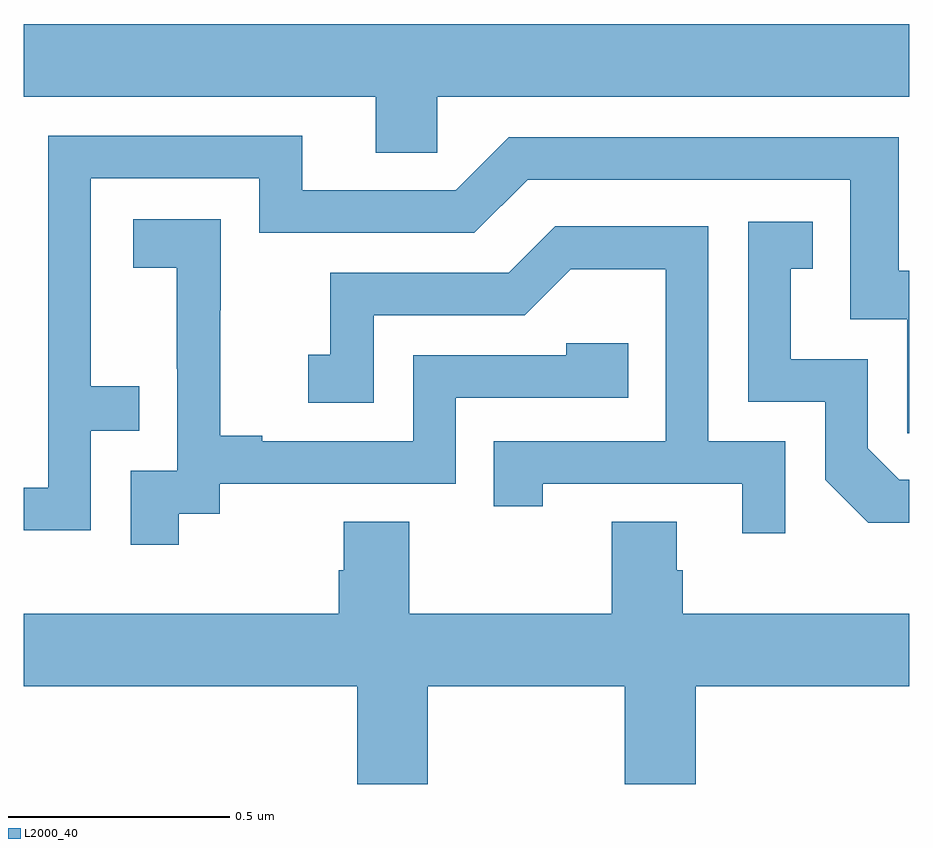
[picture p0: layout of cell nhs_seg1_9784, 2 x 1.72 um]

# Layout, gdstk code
import gdstk
lib = gdstk.Library(unit=1e-6, precision=1e-09)
def P(c, l, *ps):  # polygons
    for p in ps: c.add(gdstk.Polygon(p, *l))
L2000_40 = (2000, 40)

nhs_seg1_9784 = lib.new_cell('nhs_seg1_9784')
P(nhs_seg1_9784, L2000_40, [(233.934,531.752),(235,531.752),(235,531.916),(233,531.916),(233,531.752),(233.795,531.752),(233.795,531.625),(233.934,531.625)],
  [(233.151,530.997),(233.261,530.997),(233.261,531.098),(233.151,531.098),(233.151,531.567),(233.532,531.567),(233.532,531.444),(234.018,531.444),(234.138,531.564),(234.867,531.564),(234.867,531.249),(234.996,531.249),(234.996,530.991),(235,530.991),(235,531.358),(234.976,531.358),(234.976,531.66),(234.096,531.66),(233.976,531.54),(233.629,531.54),(233.629,531.663),(233.055,531.663),(233.055,530.868),(233,530.868),(233,530.772),(233.151,530.772)],
  [(233.35,530.809),(233.442,530.809),(233.442,530.877),(233.976,530.877),(233.976,531.072),(234.365,531.072),(234.365,531.195),(234.225,531.195),(234.225,531.168),(233.88,531.168),(233.88,530.973),(233.539,530.973),(233.539,530.986),(233.444,530.986),(233.444,531.269),(233.445,531.269),(233.445,531.475),(233.247,531.475),(233.247,531.365),(233.345,531.365),(233.345,531.137),(233.346,531.137),(233.346,530.907),(233.241,530.907),(233.241,530.739),(233.35,530.739)],
  [(235,530.886),(234.978,530.886),(234.906,530.958),(234.906,531.159),(234.733,531.159),(234.733,531.363),(234.782,531.363),(234.782,531.469),(234.636,531.469),(234.636,531.063),(234.81,531.063),(234.81,530.886),(234.908,530.789),(235,530.789)],
  [(234.72,530.973),(234.546,530.973),(234.546,531.459),(234.2,531.459),(234.095,531.354),(233.692,531.354),(233.692,531.169),(233.643,531.169),(233.643,531.06),(233.79,531.06),(233.79,531.258),(234.132,531.258),(234.236,531.362),(234.45,531.362),(234.45,530.973),(234.061,530.973),(234.061,530.826),(234.172,530.826),(234.172,530.877),(234.623,530.877),(234.623,530.766),(234.72,530.766)],
  [(233.913,530.42),(234.358,530.42),(234.358,530.199),(234.518,530.199),(234.518,530.42),(235,530.42),(235,530.584),(234.488,530.584),(234.488,530.682),(234.475,530.682),(234.475,530.792),(234.328,530.792),(234.328,530.584),(233.871,530.584),(233.871,530.792),(233.723,530.792),(233.723,530.682),(233.711,530.682),(233.711,530.584),(233,530.584),(233,530.42),(233.753,530.42),(233.753,530.199),(233.913,530.199)])

lib.write_gds('nhs_seg1_9784.gds')
